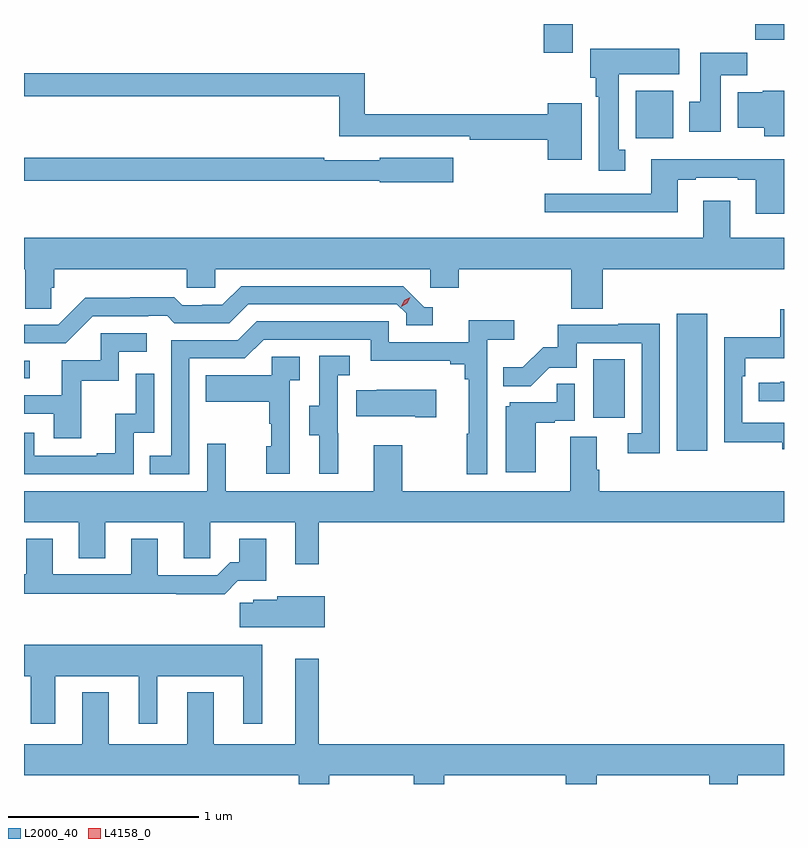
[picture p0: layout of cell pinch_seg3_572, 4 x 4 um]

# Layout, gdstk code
import gdstk
lib = gdstk.Library(unit=1e-6, precision=1e-09)
def R(c, l, rs):  # rectangles x0, y0, x1, y1
    for r in rs: c.add(gdstk.rectangle(r[:2], r[2:], *l))
def P(c, l, *ps):  # polygons
    for p in ps: c.add(gdstk.Polygon(p, *l))
L2000_40 = (2000, 40)
L4158_0 = (4158, 0)

pinch_seg3_572 = lib.new_cell('pinch_seg3_572')
R(pinch_seg3_572, L2000_40, [(1071.782,697.296,1071.943,698.017), (1071.344,697.47,1071.508,697.777), (1068.347,697.677,1068.376,697.77), (1071.567,698.94,1071.763,699.19), (1071.083,699.39,1071.235,699.542), (1072.195,699.46,1072.347,699.542)])
P(pinch_seg3_572, L2000_40, [(1071.511,698.881),(1071.478,698.881),(1071.478,699.278),(1071.796,699.278),(1071.796,699.412),(1071.326,699.412),(1071.326,699.258),(1071.356,699.258),(1071.356,699.158),(1071.371,699.158),(1071.371,698.769),(1071.511,698.769)],
  [(1072.015,699.272),(1072.154,699.272),(1072.154,699.391),(1071.905,699.391),(1071.905,699.132),(1071.848,699.132),(1071.848,698.976),(1072.015,698.976)],
  [(1071.283,699.124),(1071.104,699.124),(1071.104,699.068),(1070.141,699.068),(1070.141,699.283),(1068.347,699.283),(1068.347,699.162),(1070.005,699.162),(1070.005,698.952),(1070.692,698.952),(1070.692,698.932),(1071.104,698.932),(1071.104,698.828),(1071.283,698.828)],
  [(1072.347,699.19),(1072.236,699.19),(1072.236,699.184),(1072.103,699.184),(1072.103,698.996),(1072.244,698.996),(1072.244,698.951),(1072.347,698.951)],
  [(1070.605,698.839),(1070.22,698.839),(1070.22,698.826),(1069.928,698.826),(1069.928,698.839),(1068.347,698.839),(1068.347,698.718),(1070.22,698.718),(1070.22,698.71),(1070.605,698.71)],
  [(1072.347,698.83),(1071.647,698.83),(1071.647,698.649),(1071.087,698.649),(1071.087,698.552),(1071.787,698.552),(1071.787,698.721),(1071.883,698.721),(1071.883,698.733),(1072.103,698.733),(1072.103,698.721),(1072.199,698.721),(1072.199,698.544),(1072.347,698.544)],
  [(1068.491,698.154),(1068.506,698.154),(1068.506,698.252),(1069.203,698.252),(1069.203,698.154),(1069.353,698.154),(1069.353,698.252),(1070.484,698.252),(1070.484,698.154),(1070.636,698.154),(1070.636,698.252),(1071.227,698.252),(1071.227,698.044),(1071.392,698.044),(1071.392,698.252),(1072.347,698.252),(1072.347,698.416),(1072.063,698.416),(1072.063,698.611),(1071.923,698.611),(1071.923,698.416),(1068.347,698.416),(1068.347,698.252),(1068.354,698.252),(1068.354,698.044),(1068.491,698.044)],
  [(1068.708,698.004),(1069.001,698.004),(1069.001,698.007),(1069.1,698.007),(1069.139,697.968),(1069.428,697.968),(1069.527,698.067),(1070.31,698.067),(1070.358,698.019),(1070.358,697.956),(1070.497,697.956),(1070.497,698.052),(1070.454,698.052),(1070.343,698.163),(1069.49,698.163),(1069.391,698.064),(1069.284,698.064),(1069.284,698.061),(1069.181,698.061),(1069.139,698.104),(1068.906,698.104),(1068.906,698.101),(1068.67,698.101),(1068.528,697.959),(1068.347,697.959),(1068.347,697.863),(1068.567,697.863)],
  [(1072.347,697.443),(1072.128,697.443),(1072.128,697.688),(1072.142,697.688),(1072.142,697.784),(1072.347,697.784),(1072.347,698.04),(1072.326,698.04),(1072.326,697.894),(1072.032,697.894),(1072.032,697.342),(1072.337,697.342),(1072.337,697.304),(1072.347,697.304)],
  [(1069.218,697.782),(1069.509,697.782),(1069.608,697.881),(1070.172,697.881),(1070.172,697.769),(1070.591,697.769),(1070.591,697.75),(1070.668,697.75),(1070.668,697.673),(1070.687,697.673),(1070.687,697.385),(1070.676,697.385),(1070.676,697.173),(1070.784,697.173),(1070.784,697.88),(1070.926,697.88),(1070.926,697.982),(1070.687,697.982),(1070.687,697.866),(1070.268,697.866),(1070.268,697.977),(1069.571,697.977),(1069.472,697.878),(1069.122,697.878),(1069.122,697.269),(1069.009,697.269),(1069.009,697.173),(1069.218,697.173)],
  [(1071.693,697.964),(1071.475,697.964),(1071.475,697.959),(1071.157,697.959),(1071.157,697.842),(1071.08,697.842),(1070.973,697.735),(1070.869,697.735),(1070.869,697.636),(1071.013,697.636),(1071.111,697.734),(1071.255,697.734),(1071.255,697.863),(1071.597,697.863),(1071.597,697.389),(1071.525,697.389),(1071.525,697.284),(1071.693,697.284)],
  [(1068.647,697.665),(1068.846,697.665),(1068.846,697.818),(1068.994,697.818),(1068.994,697.914),(1068.75,697.914),(1068.75,697.773),(1068.545,697.773),(1068.545,697.587),(1068.347,697.587),(1068.347,697.491),(1068.503,697.491),(1068.503,697.362),(1068.647,697.362)],
  [(1070,697.389),(1069.998,697.389),(1069.998,697.693),(1070.062,697.693),(1070.062,697.796),(1069.902,697.796),(1069.902,697.533),(1069.847,697.533),(1069.847,697.378),(1069.901,697.378),(1069.901,697.176),(1070,697.176)],
  [(1069.746,697.667),(1069.798,697.667),(1069.798,697.791),(1069.65,697.791),(1069.65,697.693),(1069.303,697.693),(1069.303,697.553),(1069.638,697.553),(1069.638,697.439),(1069.648,697.439),(1069.648,697.32),(1069.622,697.32),(1069.622,697.176),(1069.746,697.176)],
  [(1068.924,697.392),(1069.032,697.392),(1069.032,697.702),(1068.936,697.702),(1068.936,697.49),(1068.827,697.49),(1068.827,697.282),(1068.731,697.282),(1068.731,697.269),(1068.402,697.269),(1068.402,697.392),(1068.347,697.392),(1068.347,697.173),(1068.924,697.173)],
  [(1072.347,697.658),(1072.327,697.658),(1072.327,697.653),(1072.215,697.653),(1072.215,697.557),(1072.347,697.557)],
  [(1071.04,697.443),(1071.14,697.443),(1071.14,697.455),(1071.246,697.455),(1071.246,697.649),(1071.151,697.649),(1071.151,697.551),(1070.904,697.551),(1070.904,697.53),(1070.882,697.53),(1070.882,697.182),(1071.04,697.182)],
  [(1070.518,697.618),(1070.203,697.618),(1070.203,697.615),(1070.095,697.615),(1070.095,697.478),(1070.405,697.478),(1070.405,697.471),(1070.518,697.471)],
  [(1069.897,696.92),(1072.347,696.92),(1072.347,697.084),(1071.374,697.084),(1071.374,697.196),(1071.361,697.196),(1071.361,697.37),(1071.221,697.37),(1071.221,697.084),(1070.337,697.084),(1070.337,697.324),(1070.189,697.324),(1070.189,697.084),(1069.409,697.084),(1069.409,697.333),(1069.311,697.333),(1069.311,697.084),(1068.347,697.084),(1068.347,696.92),(1068.635,696.92),(1068.635,696.73),(1068.775,696.73),(1068.775,696.92),(1069.187,696.92),(1069.187,696.73),(1069.326,696.73),(1069.326,696.92),(1069.775,696.92),(1069.775,696.699),(1069.897,696.699)],
  [(1069.473,696.612),(1069.621,696.612),(1069.621,696.832),(1069.481,696.832),(1069.481,696.709),(1069.432,696.709),(1069.365,696.642),(1069.051,696.642),(1069.051,696.832),(1068.911,696.832),(1068.911,696.645),(1068.499,696.645),(1068.499,696.832),(1068.359,696.832),(1068.359,696.645),(1068.347,696.645),(1068.347,696.544),(1069.147,696.544),(1069.147,696.542),(1069.403,696.542)],
  [(1069.93,696.529),(1069.68,696.529),(1069.68,696.511),(1069.554,696.511),(1069.554,696.497),(1069.482,696.497),(1069.482,696.368),(1069.93,696.368)],
  [(1068.511,696.11),(1068.95,696.11),(1068.95,695.859),(1069.048,695.859),(1069.048,696.11),(1069.502,696.11),(1069.502,695.859),(1069.6,695.859),(1069.6,696.274),(1068.347,696.274),(1068.347,696.11),(1068.383,696.11),(1068.383,695.859),(1068.511,695.859)],
  [(1069.953,695.588),(1070.398,695.588),(1070.398,695.542),(1070.558,695.542),(1070.558,695.588),(1071.197,695.588),(1071.197,695.542),(1071.362,695.542),(1071.362,695.588),(1071.953,695.588),(1071.953,695.542),(1072.104,695.542),(1072.104,695.588),(1072.347,695.588),(1072.347,695.752),(1069.897,695.752),(1069.897,696.202),(1069.775,696.202),(1069.775,695.752),(1069.345,695.752),(1069.345,696.025),(1069.205,696.025),(1069.205,695.752),(1068.793,695.752),(1068.793,696.025),(1068.653,696.025),(1068.653,695.752),(1068.347,695.752),(1068.347,695.588),(1069.793,695.588),(1069.793,695.542),(1069.953,695.542)])
P(pinch_seg3_572, L4158_0, [(1070.332,698.054),(1070.332,698.054),(1070.349,698.087),(1070.38,698.105),(1070.381,698.105),(1070.381,698.105),(1070.364,698.073),(1070.333,698.054)])

lib.write_gds('pinch_seg3_572.gds')
